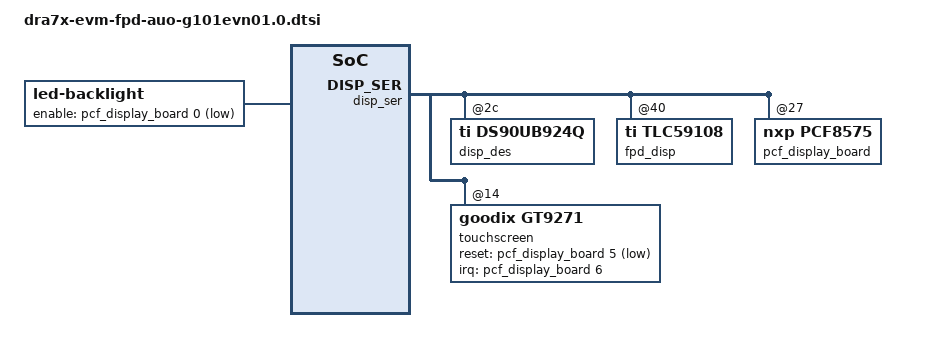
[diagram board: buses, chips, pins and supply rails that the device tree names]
/*
 * Copyright (C) 2017 Texas Instruments Incorporated - http://www.ti.com/
 *
 * This program is free software; you can redistribute it and/or modify
 * it under the terms of the GNU General Public License version 2 as
 * published by the Free Software Foundation.
 */

/ {
	backlight {
		compatible = "led-backlight";
		leds = <&backlight_led>;
		brightness-levels = <0 2 38 74 110 146 182 218 255>;
		default-brightness-level = <8>;

		enable-gpios = <&pcf_display_board 0 GPIO_ACTIVE_LOW>;
	};

	lcd_fpd: display {
		compatible = "auo,g101evn01.0", "panel-dpi";

		label = "lcd_fpd";
		status = "disabled";

		panel-timing {
			clock-frequency = <68930000>;
			hactive = <1280>;
			vactive = <800>;

			hfront-porch = <48>;
			hsync-len = <32>;
			hback-porch = <48>;

			vfront-porch = <4>;
			vsync-len = <4>;
			vback-porch = <8>;

			hsync-active = <0>;
			vsync-active = <0>;
			de-active = <1>;
			pixelclk-active = <1>;
		};

		port {
			fpd_in: endpoint {
			};
		};
	};
};

&disp_ser {

	/*
	* 0x2c - deserializer
	* 0x40 - TLC59108
	* 0x27 - PCF8575
	* 0x57 - EEPROM
	* 0x14 - Goodix Touch Controller
	* 0x28 - RF430CL330H
	*/

	disp_des: deserializer@2c {
		#address-cells = <1>;
		#size-cells = <0>;
		compatible = "ti,ds90ub924q";
		reg = <0x2c>;
		slave-mode;
	};

	/* TLC chip for LCD panel power and backlight */
	fpd_disp: tlc59108@40 {
		#address-cells = <1>;
		#size-cells = <0>;
		compatible = "ti,tlc59108";
		reg = <0x40>;

		backlight_led: bl@2 {
			label = "backlight";
			reg = <0x2>;
		};
	};

	pcf_display_board: gpio@27 {
		compatible = "nxp,pcf8575";
		reg = <0x27>;
		gpio-controller;
		#gpio-cells = <2>;
	};

	touchscreen: goodix-gt9271@14 {
		status = "okay";
		compatible = "goodix,gt9271";
		reg = <0x14>;

		touchscreen-size-x = <1280>;
		touchscreen-size-y = <800>;
		touchscreen-inverted-y;

		/* Reset gpio line is inverted before going to touch panel */
		reset-gpios = <&pcf_display_board 5 GPIO_ACTIVE_LOW>;
		irq-gpios = <&pcf_display_board 6 GPIO_ACTIVE_HIGH>;
	};

	/* Below two slaves on the I2C bus are not yet defined */
	/* ID EEPROM 0x57 */
	/* RF430CL330H 0x28 */
};
